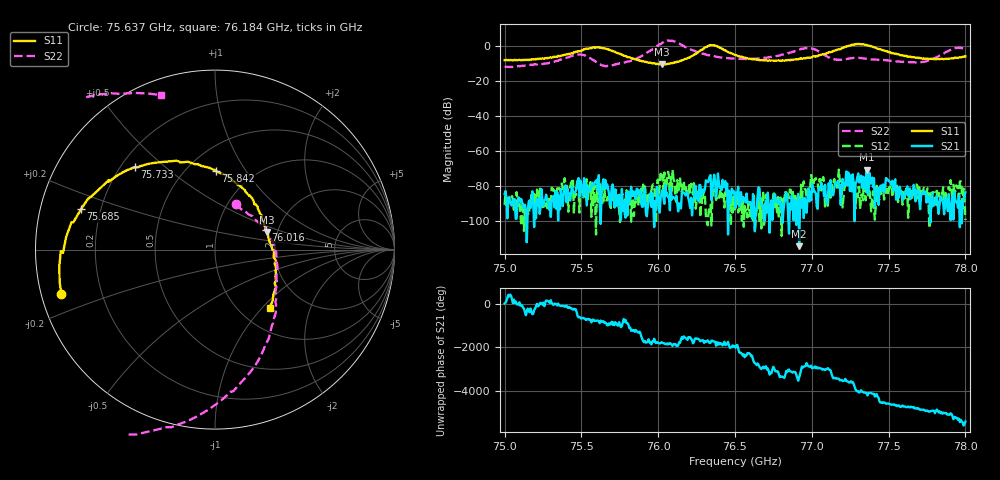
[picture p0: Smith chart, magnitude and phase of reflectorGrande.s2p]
# Hz S MA R 50
! CMT, C4420, 21421029, 25.1.2/3
! Date: 8/4/2025 4:28:29 PM
! Data: Format (Calibration Info)
! Freq	S33:Mag/Ang(F2)	S43:Mag/Ang(F2)	S34:Mag/Ang(F2)	S44:Mag/Ang(F2)
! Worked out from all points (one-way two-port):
!   500 points, 75 GHz to 78 GHz, reference 50 ohm
!   highest |S21| = -70.72 dB at 77.357 GHz (marker M1); lowest = -114.7 dB at 76.918 GHz (marker M2)
!   lowest |S11| = -10.3 dB at 76.022 GHz (marker M3), VSWR 1.87, Z = 87.8 + j18.9 ohm
!   |S11| at or under -10 dB: 75.98082 GHz to 76.06285 GHz (82.03 MHz wide, 0.108 % of centre); 76.06771 GHz to 76.07176 GHz (4.047 MHz wide, 0.00532 % of centre)
!   |S22| runs from -11.9 to 3.3 dB; largest |S21 - S12| = 0.00026
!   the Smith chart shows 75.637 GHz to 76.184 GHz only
!   S11 on the Smith chart (normalised r, x): 75.637 GHz: 0.06, -0.14; 75.685 GHz: 0.13, +0.14; 75.733 GHz: 0.26, +0.40; 75.842 GHz: 0.68, +0.74; 76.016 GHz: 1.73, +0.41; 76.184 GHz: 1.36, -1.10
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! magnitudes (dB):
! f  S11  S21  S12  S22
! 75 GHz  -7.9  -84.8  -91.0  -11.7
! 75.505 GHz  -2.2  -80.8  -80.0  -4.9
! 75.637 GHz  -1.0  -78.9  -91.1  -11.0
! 75.685 GHz  -2.2  -91.2  -90.4  -11.0
! 75.733 GHz  -3.9  -91.6  -86.6  -10.1
! 75.842 GHz  -7.2  -85.8  -97.4  -7.9
! 76.004 GHz  -10.3  -89.6  -90.0  1.0
! 76.016 GHz  -10.3  -86.4  -73.1  1.3
! 76.022 GHz  -10.3  -84.4  -75.6  1.7
! 76.184 GHz  -7.1  -84.6  -83.7  -0.8
! 76.347 GHz  0.6  -88.4  -102.8  -5.5
! 76.503 GHz  -5.1  -92.9  -89.6  -7.2
! 76.918 GHz  -7.2  -114.7  -93.6  -1.9
! 77.002 GHz  -6.2  -78.9  -77.6  -1.3
! 77.152 GHz  -2.4  -78.6  -80.6  -7.6
! 77.206 GHz  -0.8  -80.6  -86.7  -7.6
! 77.23 GHz  0.1  -79.7  -75.0  -7.2
! 77.357 GHz  0.7  -70.7  -80.4  -7.2
! 77.447 GHz  -1.8  -80.0  -82.7  -7.7
! 77.501 GHz  -3.4  -77.0  -82.0  -8.2
! 77.723 GHz  -7.1  -83.3  -83.1  -9.0
! 78 GHz  -5.8  -83.8  -99.6  -1.6
